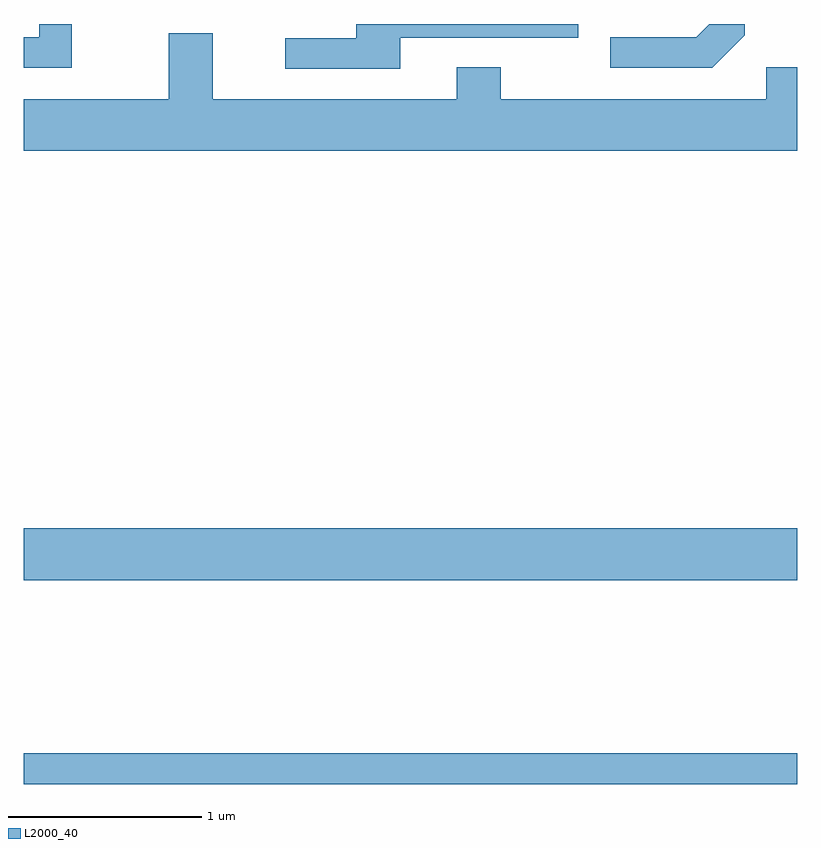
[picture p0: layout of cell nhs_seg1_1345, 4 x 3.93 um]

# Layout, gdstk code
import gdstk
lib = gdstk.Library(unit=1e-6, precision=1e-09)
def R(c, l, rs):  # rectangles x0, y0, x1, y1
    for r in rs: c.add(gdstk.rectangle(r[:2], r[2:], *l))
def P(c, l, *ps):  # polygons
    for p in ps: c.add(gdstk.Polygon(p, *l))
L2000_40 = (2000, 40)

nhs_seg1_1345 = lib.new_cell('nhs_seg1_1345')
R(nhs_seg1_1345, L2000_40, [(225.611,971.781,229.611,971.939), (225.611,972.836,229.611,973.104)])
P(nhs_seg1_1345, L2000_40, [(227.559,975.641),(228.479,975.641),(228.479,975.712),(227.331,975.712),(227.331,975.639),(226.963,975.639),(226.963,975.481),(227.559,975.481)],
  [(229.339,975.654),(229.339,975.712),(229.156,975.712),(229.089,975.644),(228.643,975.644),(228.643,975.486),(229.172,975.486)],
  [(225.859,975.712),(225.691,975.712),(225.691,975.644),(225.611,975.644),(225.611,975.486),(225.859,975.486)],
  [(229.611,975.489),(229.451,975.489),(229.451,975.324),(228.079,975.324),(228.079,975.489),(227.851,975.489),(227.851,975.324),(226.589,975.324),(226.589,975.664),(226.361,975.664),(226.361,975.324),(225.611,975.324),(225.611,975.056),(229.611,975.056)])

lib.write_gds('nhs_seg1_1345.gds')
